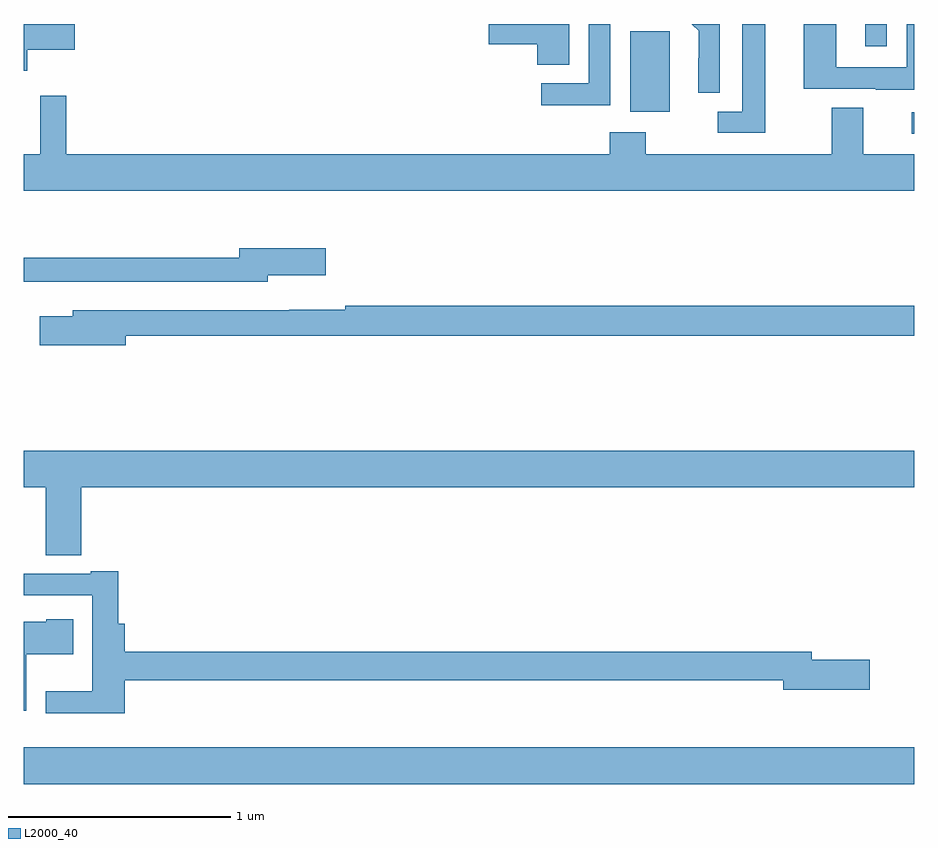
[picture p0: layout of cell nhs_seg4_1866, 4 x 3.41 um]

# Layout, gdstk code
import gdstk
lib = gdstk.Library(unit=1e-6, precision=1e-09)
def R(c, l, rs):  # rectangles x0, y0, x1, y1
    for r in rs: c.add(gdstk.rectangle(r[:2], r[2:], *l))
def P(c, l, *ps):  # polygons
    for p in ps: c.add(gdstk.Polygon(p, *l))
L2000_40 = (2000, 40)

nhs_seg4_1866 = lib.new_cell('nhs_seg4_1866')
R(nhs_seg4_1866, L2000_40, [(207,795.488,211,795.652), (210.987,798.408,211,798.504), (209.723,798.506,209.902,798.867), (210.779,798.801,210.876,798.9)])
P(nhs_seg4_1866, L2000_40, [(207.017,798.785),(207.229,798.785),(207.229,798.9),(207,798.9),(207,798.69),(207.017,798.69)],
  [(210.331,798.9),(210.227,798.9),(210.227,798.507),(210.117,798.507),(210.117,798.411),(210.331,798.411)],
  [(211,798.9),(210.966,798.9),(210.966,798.705),(210.648,798.705),(210.648,798.9),(210.503,798.9),(210.503,798.609),(210.827,798.609),(210.827,798.605),(211,798.605)],
  [(210.126,798.9),(210.001,798.9),(210.032,798.869),(210.032,798.746),(210.03,798.746),(210.03,798.592),(210.126,798.592)],
  [(209.634,798.9),(209.538,798.9),(209.538,798.633),(209.325,798.633),(209.325,798.535),(209.634,798.535)],
  [(209.449,798.9),(209.088,798.9),(209.088,798.809),(209.306,798.809),(209.306,798.718),(209.449,798.718)],
  [(211,798.316),(210.769,798.316),(210.769,798.524),(210.629,798.524),(210.629,798.316),(209.793,798.316),(209.793,798.415),(209.633,798.415),(209.633,798.316),(207.191,798.316),(207.191,798.577),(207.075,798.577),(207.075,798.316),(207,798.316),(207,798.152),(211,798.152)],
  [(208.096,797.771),(208.357,797.771),(208.357,797.893),(207.968,797.893),(207.968,797.851),(207,797.851),(207,797.742),(208.096,797.742)],
  [(207.46,797.5),(211,797.5),(211,797.636),(208.444,797.636),(208.444,797.617),(208.192,797.617),(208.192,797.616),(207.221,797.616),(207.221,797.587),(207.072,797.587),(207.072,797.458),(207.46,797.458)],
  [(207.26,796.82),(211,796.82),(211,796.984),(207,796.984),(207,796.82),(207.1,796.82),(207.1,796.516),(207.26,796.516)],
  [(207.455,795.954),(210.41,795.954),(210.41,795.911),(210.799,795.911),(210.799,796.046),(210.538,796.046),(210.538,796.082),(207.455,796.082),(207.455,796.207),(207.425,796.207),(207.425,796.444),(207.302,796.444),(207.302,796.431),(207,796.431),(207,796.335),(207.309,796.335),(207.309,796.103),(207.308,796.103),(207.308,795.904),(207.099,795.904),(207.099,795.806),(207.455,795.806)],
  [(207.013,796.07),(207.223,796.07),(207.223,796.228),(207.102,796.228),(207.102,796.216),(207,796.216),(207,795.816),(207.013,795.816)])

lib.write_gds('nhs_seg4_1866.gds')
